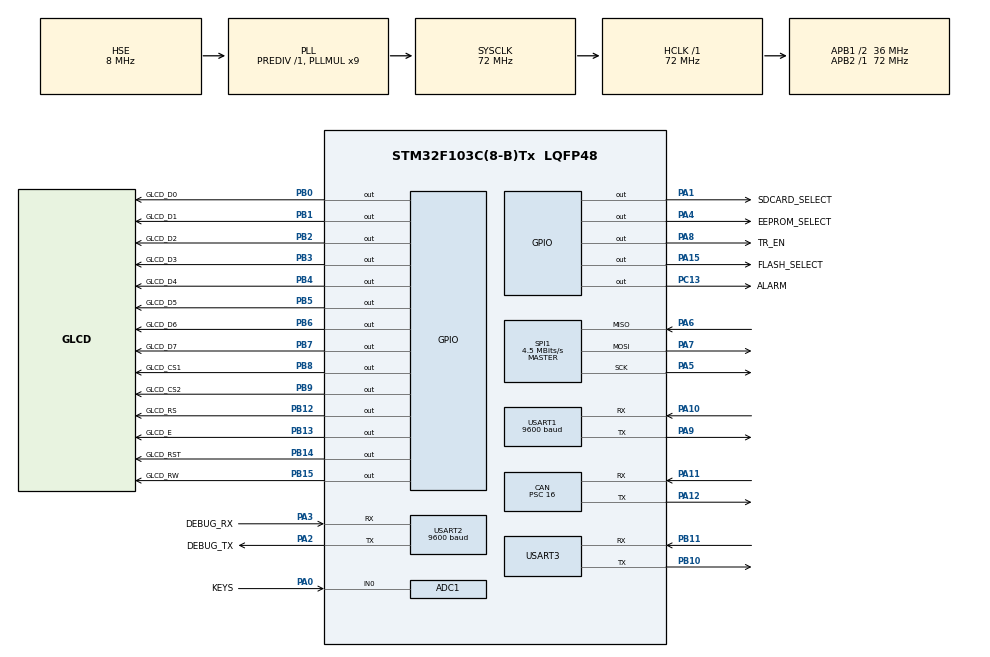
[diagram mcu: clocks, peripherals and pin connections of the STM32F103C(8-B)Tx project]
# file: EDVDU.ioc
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ADC1.Channel-1\#ChannelRegularConversion=ADC_CHANNEL_0
ADC1.EnableInjectedConversion=DISABLE
ADC1.NbrOfConversionFlag=1
ADC1.Rank-1\#ChannelRegularConversion=1
ADC1.SamplingTime-1\#ChannelRegularConversion=ADC_SAMPLETIME_1CYCLE_5
ADC1.master=1
CAN.CalculateBaudRate=749999
CAN.CalculateTimeBit=1333
CAN.CalculateTimeQuantum=444.44444444444446
CAN.Prescaler=16
CAN.SJW=CAN_SJW_1TQ
Dma.ADC1.0.Direction=DMA_PERIPH_TO_MEMORY
Dma.ADC1.0.Instance=DMA1_Channel1
Dma.ADC1.0.MemDataAlignment=DMA_MDATAALIGN_HALFWORD
Dma.ADC1.0.MemInc=DMA_MINC_ENABLE
Dma.ADC1.0.Mode=DMA_NORMAL
Dma.ADC1.0.PeriphDataAlignment=DMA_PDATAALIGN_HALFWORD
Dma.ADC1.0.PeriphInc=DMA_PINC_DISABLE
Dma.ADC1.0.Priority=DMA_PRIORITY_LOW
Dma.Request0=ADC1
FREERTOS.Tasks01=defaultTask,0,128,StartDefaultTask,Default,NULL,Dynamic,NULL,NULL
Mcu.Family=STM32F1
Mcu.Name=STM32F103C(8-B)Tx
Mcu.Package=LQFP48
NVIC.ADC1_2_IRQn=true\:5\:0\:false\:false\:true\:true\:true\:true\:true
NVIC.DMA1_Channel1_IRQn=true\:5\:0\:false\:false\:true\:true\:false\:true\:true
NVIC.PriorityGroup=NVIC_PRIORITYGROUP_4
NVIC.TIM4_IRQn=true\:15\:0\:false\:false\:true\:false\:false\:true\:true
NVIC.TimeBase=TIM4_IRQn
NVIC.TimeBaseIP=TIM4
NVIC.USART2_IRQn=true\:5\:0\:false\:false\:true\:true\:true\:true\:true
PA0-WKUP.GPIO_Label=KEYS
PA0-WKUP.Signal=ADCx_IN0
PA1.GPIO_Label=SDCARD_SELECT
PA1.Signal=GPIO_Output
PA10.Mode=Asynchronous
PA10.Signal=USART1_RX
PA11.Mode=CAN_Activate
PA11.Signal=CAN_RX
PA12.Mode=CAN_Activate
PA12.Signal=CAN_TX
PA13.Mode=Serial_Wire
PA13.Signal=SYS_JTMS-SWDIO
PA14.Mode=Serial_Wire
PA14.Signal=SYS_JTCK-SWCLK
PA15.GPIO_Label=FLASH_SELECT
PA15.Signal=GPIO_Output
PA2.GPIO_Label=DEBUG_TX
PA2.Mode=Asynchronous
PA2.Signal=USART2_TX
PA3.GPIO_Label=DEBUG_RX
PA3.Mode=Asynchronous
PA3.Signal=USART2_RX
PA4.GPIO_Label=EEPROM_SELECT
PA4.Signal=GPIO_Output
PA5.Mode=Full_Duplex_Master
PA5.Signal=SPI1_SCK
PA6.Mode=Full_Duplex_Master
PA6.Signal=SPI1_MISO
PA7.Mode=Full_Duplex_Master
PA7.Signal=SPI1_MOSI
PA8.GPIO_Label=TR_EN
PA8.Signal=GPIO_Output
PA9.Mode=Asynchronous
PA9.Signal=USART1_TX
PB0.GPIO_Label=GLCD_D0
PB0.Signal=GPIO_Output
PB1.GPIO_Label=GLCD_D1
PB1.Signal=GPIO_Output
PB10.Mode=Asynchronous
PB10.Signal=USART3_TX
PB11.Mode=Asynchronous
PB11.Signal=USART3_RX
PB12.GPIO_Label=GLCD_RS
PB12.Signal=GPIO_Output
PB13.GPIO_Label=GLCD_E
PB13.Signal=GPIO_Output
PB14.GPIO_Label=GLCD_RST
PB14.Signal=GPIO_Output
PB15.GPIO_Label=GLCD_RW
PB15.Signal=GPIO_Output
PB2.GPIO_Label=GLCD_D2
PB2.Signal=GPIO_Output
PB3.GPIO_Label=GLCD_D3
PB3.Signal=GPIO_Output
PB4.GPIO_Label=GLCD_D4
PB4.Signal=GPIO_Output
PB5.GPIO_Label=GLCD_D5
PB5.Signal=GPIO_Output
PB6.GPIO_Label=GLCD_D6
PB6.Signal=GPIO_Output
PB7.GPIO_Label=GLCD_D7
PB7.Signal=GPIO_Output
PB8.GPIO_Label=GLCD_CS1
PB8.Signal=GPIO_Output
PB9.GPIO_Label=GLCD_CS2
PB9.Signal=GPIO_Output
PC13-TAMPER-RTC.GPIO_Label=ALARM
PC13-TAMPER-RTC.Signal=GPIO_Output
PC14-OSC32_IN.Mode=LSE-External-Oscillator
PC14-OSC32_IN.Signal=RCC_OSC32_IN
PC15-OSC32_OUT.Mode=LSE-External-Oscillator
PC15-OSC32_OUT.Signal=RCC_OSC32_OUT
PD0-OSC_IN.Mode=HSE-External-Oscillator
PD0-OSC_IN.Signal=RCC_OSC_IN
PD1-OSC_OUT.Mode=HSE-External-Oscillator
PD1-OSC_OUT.Signal=RCC_OSC_OUT
ProjectManager.HeapSize=0x200
ProjectManager.StackSize=0x400
ProjectManager.TargetToolchain=MDK-ARM V5.32
RCC.ADCPresc=RCC_ADCPCLK2_DIV6
RCC.AHBFreq_Value=72000000
RCC.APB1CLKDivider=RCC_HCLK_DIV2
RCC.APB1Freq_Value=36000000
RCC.APB1TimFreq_Value=72000000
RCC.APB2Freq_Value=72000000
RCC.APB2TimFreq_Value=72000000
RCC.HCLKFreq_Value=72000000
RCC.PLLMUL=RCC_PLL_MUL9
RCC.PLLSourceVirtual=RCC_PLLSOURCE_HSE
RCC.RTCClockSelection=RCC_RTCCLKSOURCE_HSE_DIV128
RCC.SYSCLKFreq_VALUE=72000000
RCC.SYSCLKSource=RCC_SYSCLKSOURCE_PLLCLK
RCC.USBFreq_Value=72000000
SH.ADCx_IN0.0=ADC1_IN0,IN0
SPI1.BaudRatePrescaler=SPI_BAUDRATEPRESCALER_16
SPI1.CalculateBaudRate=4.5 MBits/s
SPI1.Direction=SPI_DIRECTION_2LINES
SPI1.Mode=SPI_MODE_MASTER
SPI1.VirtualType=VM_MASTER
TIM2.Channel-PWM\ Generation1\ No\ Output=TIM_CHANNEL_1
USART1.BaudRate=9600
USART1.VirtualMode=VM_ASYNC
USART2.BaudRate=9600
USART2.VirtualMode=VM_ASYNC
USART3.VirtualMode=VM_ASYNC
VP_FREERTOS_VS_CMSIS_V1.Mode=CMSIS_V1
VP_RTC_No_RTC_Output.Mode=RTC_OUT_NO
VP_RTC_VS_RTC_Activate.Mode=RTC_Enabled
VP_SYS_VS_tim4.Mode=TIM4
VP_TIM1_VS_ClockSourceINT.Mode=Internal
VP_TIM2_VS_ClockSourceINT.Mode=Internal
VP_TIM2_VS_no_output1.Mode=PWM Generation1 No Output
board=custom

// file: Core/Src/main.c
/* USER CODE BEGIN Header */
/**
  ******************************************************************************
  * @file           : main.c
  * @brief          : Main program body
  ******************************************************************************
  * @attention
  *
  * Copyright (c) 2023 STMicroelectronics.
  * All rights reserved.
  *
  * This software is licensed under terms that can be found in the LICENSE file
  * in the root directory of this software component.
  * If no LICENSE file comes with this software, it is provided AS-IS.
  *
  ******************************************************************************
  */
/* USER CODE END Header */
#include "main.h"
#include "cmsis_os.h"

/* USER CODE BEGIN Includes */
#include "FONT/font/f5x7.h"
#include "FONT/font/AF9x10.h"
#include "FONT/font/AF12x16.h"
#include "FONT/font/f10x20.h"
#include "BMP/Logo.h"
#include <stdio.h>
/* USER CODE END Includes */

/* USER CODE BEGIN PM */
void Input_DB_GLCD(void);
void Output_DB_GLCD(void);
void Write_DB_GLCD(unsigned char x);
unsigned char Read_DB_GLCD(void);
unsigned int _delay_us(unsigned int Delay);
/* USER CODE END PM */

ADC_HandleTypeDef hadc1;
DMA_HandleTypeDef hdma_adc1;

CAN_HandleTypeDef hcan;

RTC_HandleTypeDef hrtc;

SPI_HandleTypeDef hspi1;

TIM_HandleTypeDef htim1;
TIM_HandleTypeDef htim2;

UART_HandleTypeDef huart1;
UART_HandleTypeDef huart2;
UART_HandleTypeDef huart3;

osThreadId defaultTaskHandle;
/* USER CODE BEGIN PV */
unsigned char Data;
char data[37];
char Ctemp[20];
/* USER CODE END PV */

void SystemClock_Config(void);
static void MX_GPIO_Init(void);
static void MX_DMA_Init(void);
static void MX_USART1_UART_Init(void);
static void MX_USART2_UART_Init(void);
static void MX_ADC1_Init(void);
static void MX_CAN_Init(void);
static void MX_SPI1_Init(void);
static void MX_TIM1_Init(void);
static void MX_USART3_UART_Init(void);
static void MX_TIM2_Init(void);
static void MX_RTC_Init(void);
void StartDefaultTask(void const * argument);

/* USER CODE BEGIN 0 */
#define STACK_SIZE 256
StaticTask_t xTaskBuffer; // control and manage TCB
StackType_t xStack[STACK_SIZE];

void vTask_home(void *pvParameters){
  volatile uint32_t Var;
  for( ; ; ){
		SetLetter(E_LETTER);
		LcdFont(AF9x10);
		TextBox (0, 0,  127,  12, "Read Speed",  ALINE_LEFT /*| BORDER_RECT |BORDER_FILL*/);
		TextBox (0, 12,  127,  24, "Read Timing",  ALINE_LEFT /*| BORDER_RECT |BORDER_FILL*/);
		TextBox (0, 24,  127,  36, "Read ADC",  ALINE_LEFT /*| BORDER_RECT |BORDER_FILL*/);
		TextBox (0, 36,  127,  48, "Read CAN",  ALINE_LEFT /*| BORDER_RECT |BORDER_FILL*/);
		TextBox (0, 48,  127,  60, "Read RS485",  ALINE_LEFT /*| BORDER_RECT |BORDER_FILL*/);
  }

}

// void vTask_menu(void *pvParameters){
// 	volatile uint32_t u1;
// 	for (	;	;	){
// 		printf("Menu");
// 		HAL_Delay(10); // problem! not recomended
// 		SetLetter(E_LETTER);
// 		LcdFont(AF9x10);
// 		TextBox (0, 0,  127,  12, "Read Speed",  ALINE_LEFT /*| BORDER_RECT |BORDER_FILL*/);
// 		TextBox (0, 12,  127,  24, "Read Timing",  ALINE_LEFT /*| BORDER_RECT |BORDER_FILL*/);
// 		TextBox (0, 24,  127,  36, "Read Timing",  ALINE_LEFT /*| BORDER_RECT |BORDER_FILL*/);
// 		TextBox (0, 36,  127,  48, "Read Timing",  ALINE_LEFT /*| BORDER_RECT |BORDER_FILL*/);
// 		TextBox (0, 48,  127,  60, "Read Timing",  ALINE_LEFT /*| BORDER_RECT |BORDER_FILL*/);

// 	}
// }

void vTask_read_keys(void *pvParameters){
	volatile uint32_t u1;
	for (	;	;	){
		printf("Read Keys Input");
		HAL_Delay(10); // problem! not recomended
	}
}

void vTask_item_selector(void *itemPlace){
	volatile uint32_t u1;
	for (	;	;	){
		printf((char*)itemPlace);
		HAL_Delay(10); // problem! not recomended
	}
}
/* USER CODE END 0 */

int main(void)
{

  /* MCU Configuration--------------------------------------------------------*/

  /* Reset of all peripherals, Initializes the Flash interface and the Systick. */
  HAL_Init();

  /* Configure the system clock */
  SystemClock_Config();

  /* Initialize all configured peripherals */
  MX_GPIO_Init();
  MX_DMA_Init();
  MX_USART1_UART_Init();
  MX_USART2_UART_Init();
  MX_ADC1_Init();
  MX_CAN_Init();
  MX_SPI1_Init();
  MX_TIM1_Init();
  MX_USART3_UART_Init();
  MX_TIM2_Init();
  MX_RTC_Init();
  /* USER CODE BEGIN 2 */
	HAL_GPIO_TogglePin(ALARM_GPIO_Port, ALARM_Pin);
	HAL_Delay(100);
	HAL_GPIO_TogglePin(ALARM_GPIO_Port, ALARM_Pin);
	HAL_Delay(100);

	KS108_Init(NON_INVERTED);
	KS108_CLSx();

	KS108_DrawBitmap(Logo, 0, 0, TRANS);
	_delay_ms(1500);
	KS108_CLSx();

	SetLetter(E_LETTER);
	LcdFont(f10x20);
	TextBox (0, 5,  127,  25, "ElectronDriven.com",  ALINE_CENTER | BORDER_RECT |BORDER_FILL);
	_delay_ms(1500);
	KS108_CLSx();

  HAL_GPIO_TogglePin(ALARM_GPIO_Port, ALARM_Pin);
	HAL_Delay(100);
	HAL_GPIO_TogglePin(ALARM_GPIO_Port, ALARM_Pin);
	HAL_Delay(100);
  /* USER CODE END 2 */

  /* Create the thread(s) */
  /* definition and creation of defaultTask */
//  osThreadDef(defaultTask, StartDefaultTask, osPriorityNormal, 0, 128);
//  defaultTaskHandle = osThreadCreate(osThread(defaultTask), NULL);

  /* Start scheduler */
//  osKernelStart();
  /* We should never get here as control is now taken by the scheduler */
  /* Infinite loop */
  /* USER CODE BEGIN WHILE */
// 	xTaskCreate ( vTask_read_keys, "Read Keyts", 128, NULL, 1 /*priority*/, NULL); // 128*4 == 512b
// 	xTaskCreate ( vTask_item_selector, "Item Selector", 128, NULL, 1 /*priority*/, NULL); // 128*4 == 512b

// if (xTaskCreate ( vTask_menu, "Menu", 128, NULL, 1 /*priority*/, NULL) == pdFAIL){

// }
	TaskHandle_t xHandle = NULL;
	xHandle = xTaskCreateStatic(vTask_home, "Home", STACK_SIZE, NULL, 1, xStack, &xTaskBuffer);

	vTaskStartScheduler();

  while (1)
  {
    /* USER CODE END WHILE */

  }
}

void SystemClock_Config(void)
{
  RCC_OscInitTypeDef RCC_OscInitStruct = {0};
  RCC_ClkInitTypeDef RCC_ClkInitStruct = {0};
  RCC_PeriphCLKInitTypeDef PeriphClkInit = {0};

  /** Initializes the RCC Oscillators according to the specified parameters
  * in the RCC_OscInitTypeDef structure.
  */
  RCC_OscInitStruct.OscillatorType = RCC_OSCILLATORTYPE_HSE;
  RCC_OscInitStruct.HSEState = RCC_HSE_ON;
  RCC_OscInitStruct.HSEPredivValue = RCC_HSE_PREDIV_DIV1;
  RCC_OscInitStruct.HSIState = RCC_HSI_ON;
  RCC_OscInitStruct.PLL.PLLState = RCC_PLL_ON;
  RCC_OscInitStruct.PLL.PLLSource = RCC_PLLSOURCE_HSE;
  RCC_OscInitStruct.PLL.PLLMUL = RCC_PLL_MUL9;
  if (HAL_RCC_OscConfig(&RCC_OscInitStruct) != HAL_OK)
  {
    Error_Handler();
  }

  /** Initializes the CPU, AHB and APB buses clocks
  */
  RCC_ClkInitStruct.ClockType = RCC_CLOCKTYPE_HCLK|RCC_CLOCKTYPE_SYSCLK
                              |RCC_CLOCKTYPE_PCLK1|RCC_CLOCKTYPE_PCLK2;
  RCC_ClkInitStruct.SYSCLKSource = RCC_SYSCLKSOURCE_PLLCLK;
  RCC_ClkInitStruct.AHBCLKDivider = RCC_SYSCLK_DIV1;
  RCC_ClkInitStruct.APB1CLKDivider = RCC_HCLK_DIV2;
  RCC_ClkInitStruct.APB2CLKDivider = RCC_HCLK_DIV1;

  if (HAL_RCC_ClockConfig(&RCC_ClkInitStruct, FLASH_LATENCY_2) != HAL_OK)
  {
    Error_Handler();
  }
  PeriphClkInit.PeriphClockSelection = RCC_PERIPHCLK_RTC|RCC_PERIPHCLK_ADC;
  PeriphClkInit.RTCClockSelection = RCC_RTCCLKSOURCE_HSE_DIV128;
  PeriphClkInit.AdcClockSelection = RCC_ADCPCLK2_DIV6;
  if (HAL_RCCEx_PeriphCLKConfig(&PeriphClkInit) != HAL_OK)
  {
    Error_Handler();
  }
}

static void MX_ADC1_Init(void)
{

  ADC_ChannelConfTypeDef sConfig = {0};

  /** Common config
  */
  hadc1.Instance = ADC1;
  hadc1.Init.ScanConvMode = ADC_SCAN_DISABLE;
  hadc1.Init.ContinuousConvMode = DISABLE;
  hadc1.Init.DiscontinuousConvMode = DISABLE;
  hadc1.Init.ExternalTrigConv = ADC_SOFTWARE_START;
  hadc1.Init.DataAlign = ADC_DATAALIGN_RIGHT;
  hadc1.Init.NbrOfConversion = 1;
  if (HAL_ADC_Init(&hadc1) != HAL_OK)
  {
    Error_Handler();
  }

  /** Configure Regular Channel
  */
  sConfig.Channel = ADC_CHANNEL_0;
  sConfig.Rank = ADC_REGULAR_RANK_1;
  sConfig.SamplingTime = ADC_SAMPLETIME_1CYCLE_5;
  if (HAL_ADC_ConfigChannel(&hadc1, &sConfig) != HAL_OK)
  {
    Error_Handler();
  }

}

static void MX_CAN_Init(void)
{

  hcan.Instance = CAN1;
  hcan.Init.Prescaler = 16;
  hcan.Init.Mode = CAN_MODE_NORMAL;
  hcan.Init.SyncJumpWidth = CAN_SJW_1TQ;
  hcan.Init.TimeSeg1 = CAN_BS1_1TQ;
  hcan.Init.TimeSeg2 = CAN_BS2_1TQ;
  hcan.Init.TimeTriggeredMode = DISABLE;
  hcan.Init.AutoBusOff = DISABLE;
  hcan.Init.AutoWakeUp = DISABLE;
  hcan.Init.AutoRetransmission = DISABLE;
  hcan.Init.ReceiveFifoLocked = DISABLE;
  hcan.Init.TransmitFifoPriority = DISABLE;
  if (HAL_CAN_Init(&hcan) != HAL_OK)
  {
    Error_Handler();
  }

}

static void MX_RTC_Init(void)
{

  RTC_TimeTypeDef sTime = {0};
  RTC_DateTypeDef DateToUpdate = {0};

  /** Initialize RTC Only
  */
  hrtc.Instance = RTC;
  hrtc.Init.AsynchPrediv = RTC_AUTO_1_SECOND;
  hrtc.Init.OutPut = RTC_OUTPUTSOURCE_NONE;
  if (HAL_RTC_Init(&hrtc) != HAL_OK)
  {
    Error_Handler();
  }

  /** Initialize RTC and set the Time and Date
  */
  sTime.Hours = 0x0;
  sTime.Minutes = 0x0;
  sTime.Seconds = 0x0;

  if (HAL_RTC_SetTime(&hrtc, &sTime, RTC_FORMAT_BCD) != HAL_OK)
  {
    Error_Handler();
  }
  DateToUpdate.WeekDay = RTC_WEEKDAY_MONDAY;
  DateToUpdate.Month = RTC_MONTH_JANUARY;
  DateToUpdate.Date = 0x1;
  DateToUpdate.Year = 0x0;

  if (HAL_RTC_SetDate(&hrtc, &DateToUpdate, RTC_FORMAT_BCD) != HAL_OK)
  {
    Error_Handler();
  }

}

static void MX_SPI1_Init(void)
{

  /* SPI1 parameter configuration*/
  hspi1.Instance = SPI1;
  hspi1.Init.Mode = SPI_MODE_MASTER;
  hspi1.Init.Direction = SPI_DIRECTION_2LINES;
  hspi1.Init.DataSize = SPI_DATASIZE_8BIT;
  hspi1.Init.CLKPolarity = SPI_POLARITY_LOW;
  hspi1.Init.CLKPhase = SPI_PHASE_1EDGE;
  hspi1.Init.NSS = SPI_NSS_SOFT;
  hspi1.Init.BaudRatePrescaler = SPI_BAUDRATEPRESCALER_16;
  hspi1.Init.FirstBit = SPI_FIRSTBIT_MSB;
  hspi1.Init.TIMode = SPI_TIMODE_DISABLE;
  hspi1.Init.CRCCalculation = SPI_CRCCALCULATION_DISABLE;
  hspi1.Init.CRCPolynomial = 10;
  if (HAL_SPI_Init(&hspi1) != HAL_OK)
  {
    Error_Handler();
  }

}

static void MX_TIM1_Init(void)
{

  TIM_ClockConfigTypeDef sClockSourceConfig = {0};
  TIM_MasterConfigTypeDef sMasterConfig = {0};

  htim1.Instance = TIM1;
  htim1.Init.Prescaler = 0;
  htim1.Init.CounterMode = TIM_COUNTERMODE_UP;
  htim1.Init.Period = 65535;
  htim1.Init.ClockDivision = TIM_CLOCKDIVISION_DIV1;
  htim1.Init.RepetitionCounter = 0;
  htim1.Init.AutoReloadPreload = TIM_AUTORELOAD_PRELOAD_DISABLE;
  if (HAL_TIM_Base_Init(&htim1) != HAL_OK)
  {
    Error_Handler();
  }
  sClockSourceConfig.ClockSource = TIM_CLOCKSOURCE_INTERNAL;
  if (HAL_TIM_ConfigClockSource(&htim1, &sClockSourceConfig) != HAL_OK)
  {
    Error_Handler();
  }
  sMasterConfig.MasterOutputTrigger = TIM_TRGO_RESET;
  sMasterConfig.MasterSlaveMode = TIM_MASTERSLAVEMODE_DISABLE;
  if (HAL_TIMEx_MasterConfigSynchronization(&htim1, &sMasterConfig) != HAL_OK)
  {
    Error_Handler();
  }

}

static void MX_TIM2_Init(void)
{

  TIM_ClockConfigTypeDef sClockSourceConfig = {0};
  TIM_MasterConfigTypeDef sMasterConfig = {0};
  TIM_OC_InitTypeDef sConfigOC = {0};

  htim2.Instance = TIM2;
  htim2.Init.Prescaler = 0;
  htim2.Init.CounterMode = TIM_COUNTERMODE_UP;
  htim2.Init.Period = 65535;
  htim2.Init.ClockDivision = TIM_CLOCKDIVISION_DIV1;
  htim2.Init.AutoReloadPreload = TIM_AUTORELOAD_PRELOAD_DISABLE;
  if (HAL_TIM_Base_Init(&htim2) != HAL_OK)
  {
    Error_Handler();
  }
  sClockSourceConfig.ClockSource = TIM_CLOCKSOURCE_INTERNAL;
  if (HAL_TIM_ConfigClockSource(&htim2, &sClockSourceConfig) != HAL_OK)
  {
    Error_Handler();
  }
  if (HAL_TIM_PWM_Init(&htim2) != HAL_OK)
  {
    Error_Handler();
  }
  sMasterConfig.MasterOutputTrigger = TIM_TRGO_RESET;
  sMasterConfig.MasterSlaveMode = TIM_MASTERSLAVEMODE_DISABLE;
  if (HAL_TIMEx_MasterConfigSynchronization(&htim2, &sMasterConfig) != HAL_OK)
  {
    Error_Handler();
  }
  sConfigOC.OCMode = TIM_OCMODE_PWM1;
  sConfigOC.Pulse = 0;
  sConfigOC.OCPolarity = TIM_OCPOLARITY_HIGH;
  sConfigOC.OCFastMode = TIM_OCFAST_DISABLE;
  if (HAL_TIM_PWM_ConfigChannel(&htim2, &sConfigOC, TIM_CHANNEL_1) != HAL_OK)
  {
    Error_Handler();
  }

}

static void MX_USART1_UART_Init(void)
{

  huart1.Instance = USART1;
  huart1.Init.BaudRate = 9600;
  huart1.Init.WordLength = UART_WORDLENGTH_8B;
  huart1.Init.StopBits = UART_STOPBITS_1;
  huart1.Init.Parity = UART_PARITY_NONE;
  huart1.Init.Mode = UART_MODE_TX_RX;
  huart1.Init.HwFlowCtl = UART_HWCONTROL_NONE;
  huart1.Init.OverSampling = UART_OVERSAMPLING_16;
  if (HAL_UART_Init(&huart1) != HAL_OK)
  {
    Error_Handler();
  }

}

static void MX_USART2_UART_Init(void)
{

  huart2.Instance = USART2;
  huart2.Init.BaudRate = 9600;
  huart2.Init.WordLength = UART_WORDLENGTH_8B;
  huart2.Init.StopBits = UART_STOPBITS_1;
  huart2.Init.Parity = UART_PARITY_NONE;
  huart2.Init.Mode = UART_MODE_TX_RX;
  huart2.Init.HwFlowCtl = UART_HWCONTROL_NONE;
  huart2.Init.OverSampling = UART_OVERSAMPLING_16;
  if (HAL_UART_Init(&huart2) != HAL_OK)
  {
    Error_Handler();
  }

}

static void MX_USART3_UART_Init(void)
{

  huart3.Instance = USART3;
  huart3.Init.BaudRate = 115200;
  huart3.Init.WordLength = UART_WORDLENGTH_8B;
  huart3.Init.StopBits = UART_STOPBITS_1;
  huart3.Init.Parity = UART_PARITY_NONE;
  huart3.Init.Mode = UART_MODE_TX_RX;
  huart3.Init.HwFlowCtl = UART_HWCONTROL_NONE;
  huart3.Init.OverSampling = UART_OVERSAMPLING_16;
  if (HAL_UART_Init(&huart3) != HAL_OK)
  {
    Error_Handler();
  }

}

static void MX_DMA_Init(void)
{

  /* DMA controller clock enable */
  __HAL_RCC_DMA1_CLK_ENABLE();

  /* DMA interrupt init */
  /* DMA1_Channel1_IRQn interrupt configuration */
  HAL_NVIC_SetPriority(DMA1_Channel1_IRQn, 5, 0);
  HAL_NVIC_EnableIRQ(DMA1_Channel1_IRQn);

}

static void MX_GPIO_Init(void)
{
  GPIO_InitTypeDef GPIO_InitStruct = {0};

  /* GPIO Ports Clock Enable */
  __HAL_RCC_GPIOC_CLK_ENABLE();
  __HAL_RCC_GPIOD_CLK_ENABLE();
  __HAL_RCC_GPIOA_CLK_ENABLE();
  __HAL_RCC_GPIOB_CLK_ENABLE();

  /*Configure GPIO pin Output Level */
  HAL_GPIO_WritePin(ALARM_GPIO_Port, ALARM_Pin, GPIO_PIN_RESET);

  /*Configure GPIO pin Output Level */
  HAL_GPIO_WritePin(GPIOA, SDCARD_SELECT_Pin|EEPROM_SELECT_Pin|TR_EN_Pin|FLASH_SELECT_Pin, GPIO_PIN_RESET);

  /*Configure GPIO pin Output Level */
  HAL_GPIO_WritePin(GPIOB, GLCD_D0_Pin|GLCD_D1_Pin|GLCD_D2_Pin|GLCD_RS_Pin
                          |GLCD_E_Pin|GLCD_RST_Pin|GLCD_RW_Pin|GLCD_D3_Pin
                          |GLCD_D4_Pin|GLCD_D5_Pin|GLCD_D6_Pin|GLCD_D7_Pin
                          |GLCD_CS1_Pin|GLCD_CS2_Pin, GPIO_PIN_RESET);

  /*Configure GPIO pin : ALARM_Pin */
  GPIO_InitStruct.Pin = ALARM_Pin;
  GPIO_InitStruct.Mode = GPIO_MODE_OUTPUT_PP;
  GPIO_InitStruct.Pull = GPIO_NOPULL;
  GPIO_InitStruct.Speed = GPIO_SPEED_FREQ_LOW;
  HAL_GPIO_Init(ALARM_GPIO_Port, &GPIO_InitStruct);

  /*Configure GPIO pins : SDCARD_SELECT_Pin EEPROM_SELECT_Pin TR_EN_Pin FLASH_SELECT_Pin */
  GPIO_InitStruct.Pin = SDCARD_SELECT_Pin|EEPROM_SELECT_Pin|TR_EN_Pin|FLASH_SELECT_Pin;
  GPIO_InitStruct.Mode = GPIO_MODE_OUTPUT_PP;
  GPIO_InitStruct.Pull = GPIO_NOPULL;
  GPIO_InitStruct.Speed = GPIO_SPEED_FREQ_LOW;
  HAL_GPIO_Init(GPIOA, &GPIO_InitStruct);

  /*Configure GPIO pins : GLCD_D0_Pin GLCD_D1_Pin GLCD_D2_Pin GLCD_RS_Pin
                           GLCD_E_Pin GLCD_RST_Pin GLCD_RW_Pin GLCD_D3_Pin
                           GLCD_D4_Pin GLCD_D5_Pin GLCD_D6_Pin GLCD_D7_Pin
                           GLCD_CS1_Pin GLCD_CS2_Pin */
  GPIO_InitStruct.Pin = GLCD_D0_Pin|GLCD_D1_Pin|GLCD_D2_Pin|GLCD_RS_Pin
                          |GLCD_E_Pin|GLCD_RST_Pin|GLCD_RW_Pin|GLCD_D3_Pin
                          |GLCD_D4_Pin|GLCD_D5_Pin|GLCD_D6_Pin|GLCD_D7_Pin
                          |GLCD_CS1_Pin|GLCD_CS2_Pin;
  GPIO_InitStruct.Mode = GPIO_MODE_OUTPUT_PP;
  GPIO_InitStruct.Pull = GPIO_NOPULL;
  GPIO_InitStruct.Speed = GPIO_SPEED_FREQ_LOW;
  HAL_GPIO_Init(GPIOB, &GPIO_InitStruct);

}

/* USER CODE BEGIN 4 */
void Input_DB_GLCD(void)
{
	GPIO_InitTypeDef GPIO_InitStruct;
	GPIO_InitStruct.Pin = GLCD_D0_Pin|GLCD_D1_Pin|GLCD_D2_Pin|GLCD_D3_Pin |GLCD_D4_Pin|GLCD_D5_Pin|GLCD_D6_Pin|GLCD_D7_Pin;
	GPIO_InitStruct.Mode = GPIO_MODE_INPUT;
	GPIO_InitStruct.Pull = GPIO_NOPULL;
	HAL_GPIO_Init(GPIOB, &GPIO_InitStruct);

}
void Output_DB_GLCD(void)
{
	GPIO_InitTypeDef GPIO_InitStruct;
	GPIO_InitStruct.Pin = GLCD_D0_Pin|GLCD_D1_Pin|GLCD_D2_Pin|GLCD_D3_Pin |GLCD_D4_Pin|GLCD_D5_Pin|GLCD_D6_Pin|GLCD_D7_Pin;
	GPIO_InitStruct.Mode = GPIO_MODE_OUTPUT_PP;
	GPIO_InitStruct.Speed = GPIO_SPEED_FREQ_LOW;
	HAL_GPIO_Init(GPIOB, &GPIO_InitStruct);
}
void Write_DB_GLCD(unsigned char x)
{
	HAL_GPIO_WritePin(KS108_DB_PRT,0xFF,GPIO_PIN_RESET);
	HAL_GPIO_WritePin(KS108_DB_PRT,(x),GPIO_PIN_SET);
}

unsigned char Read_DB_GLCD(void)
{
	Data=0;
	if(HAL_GPIO_ReadPin(KS108_DB_PRT,GPIO_PIN_0))
		Data|=1;
	if(HAL_GPIO_ReadPin(KS108_DB_PRT,GPIO_PIN_1))
		Data|=2;
	if(HAL_GPIO_ReadPin(KS108_DB_PRT,GPIO_PIN_2))
		Data|=4;
	if(HAL_GPIO_ReadPin(KS108_DB_PRT,GPIO_PIN_3))
		Data|=8;
	if(HAL_GPIO_ReadPin(KS108_DB_PRT,GPIO_PIN_4))
		Data|=16;
	if(HAL_GPIO_ReadPin(KS108_DB_PRT,GPIO_PIN_5))
		Data|=32;
	if(HAL_GPIO_ReadPin(KS108_DB_PRT,GPIO_PIN_6))
		Data|=64;
	if(HAL_GPIO_ReadPin(KS108_DB_PRT,GPIO_PIN_7))
		Data|=128;
	return Data;
}
unsigned int _delay_us(unsigned int Delay)
{
		//Delay*=100;
		unsigned int Sum=0;
		for(unsigned int Counter=0;Counter<=Delay;Counter++)
		{
				Sum+=Counter;
		}
		return Sum;
}
/* USER CODE END 4 */

void StartDefaultTask(void const * argument)
{
  for(;;)
  {
    osDelay(1);
  }
}

void HAL_TIM_PeriodElapsedCallback(TIM_HandleTypeDef *htim)
{
  if (htim->Instance == TIM4) {
    HAL_IncTick();
  }
}

void Error_Handler(void)
{
  __disable_irq();
  while (1)
  {
  }
}
